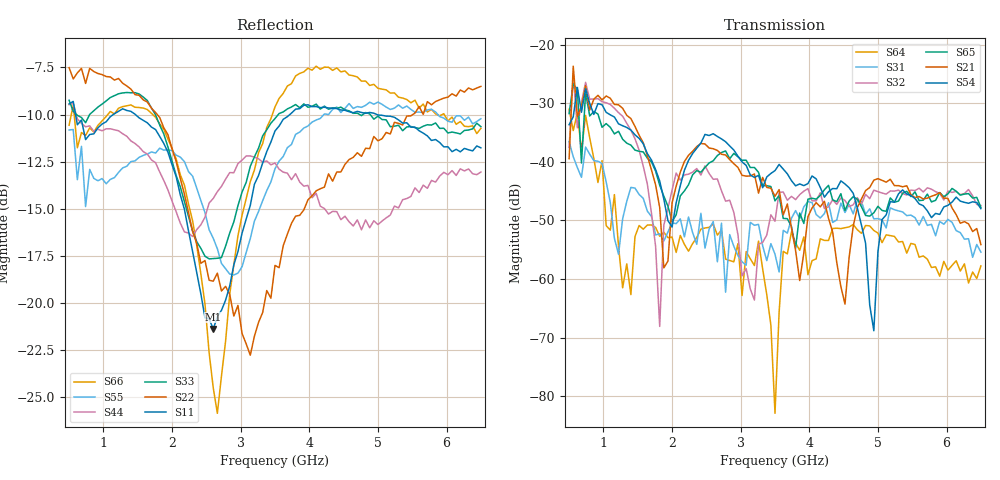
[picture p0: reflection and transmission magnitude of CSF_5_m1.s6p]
!Keysight Technologies,M9804A,MY58100912,A.14.10.03
!Date: Thursday, April 27, 2023 10:28:33
!Correction: S11(C  6-Port  )
!S12(C  6-Port  )
!S13(C  6-Port  )
!S14(C  6-Port  )
!S15(C  6-Port  )
!S16(C  6-Port  )
!S21(C  6-Port  )
!S22(C  6-Port  )
!S23(C  6-Port  )
!S24(C  6-Port  )
!S25(C  6-Port  )
!S26(C  6-Port  )
!S31(C  6-Port  )
!S32(C  6-Port  )
!S33(C  6-Port  )
!S34(C  6-Port  )
!S35(C  6-Port  )
!S36(C  6-Port  )
!S41(C  6-Port  )
!S42(C  6-Port  )
!S43(C  6-Port  )
!S44(C  6-Port  )
!S45(C  6-Port  )
!S46(C  6-Port  )
!S51(C  6-Port  )
!S52(C  6-Port  )
!S53(C  6-Port  )
!S54(C  6-Port  )
!S55(C  6-Port  )
!S56(C  6-Port  )
!S61(C  6-Port  )
!S62(C  6-Port  )
!S63(C  6-Port  )
!S64(C  6-Port  )
!S65(C  6-Port  )
!S66(C  6-Port  )
!S6P File: Measurement: :
# Hz S  RI  R 50
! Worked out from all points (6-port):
!   101 points, 500 MHz to 6.5 GHz, reference 50 ohm
!   strongest paths, dB at 500 MHz, 2 GHz, 3.5 GHz, 5 GHz, 6.5 GHz:
!     S54: -33.7, -51.1, -41.5, -55.3, -48.0
!     S21: -39.5, -47.0, -45.9, -42.9, -54.1
!     S65: -31.8, -50.2, -46.7, -47.6, -47.8
!     S32: -37.5, -44.8, -50.1, -45.1, -47.5
!     S31: -36.5, -50.4, -55.8, -49.7, -55.4
!     S64: -31.0, -52.8, -82.9, -52.2, -57.7
!   lowest |S11| = -21.4 dB at 2.6 GHz (marker M1), VSWR 1.19, Z = 42.5 + j2.29 ohm
!   |S11| at or under -10 dB: 593.8 MHz to 1.143 GHz (549.4 MHz wide, 63.3 % of centre); 1.467 GHz to 3.715 GHz (2.249 GHz wide, 86.8 % of centre); 4.986 GHz to end of sweep
